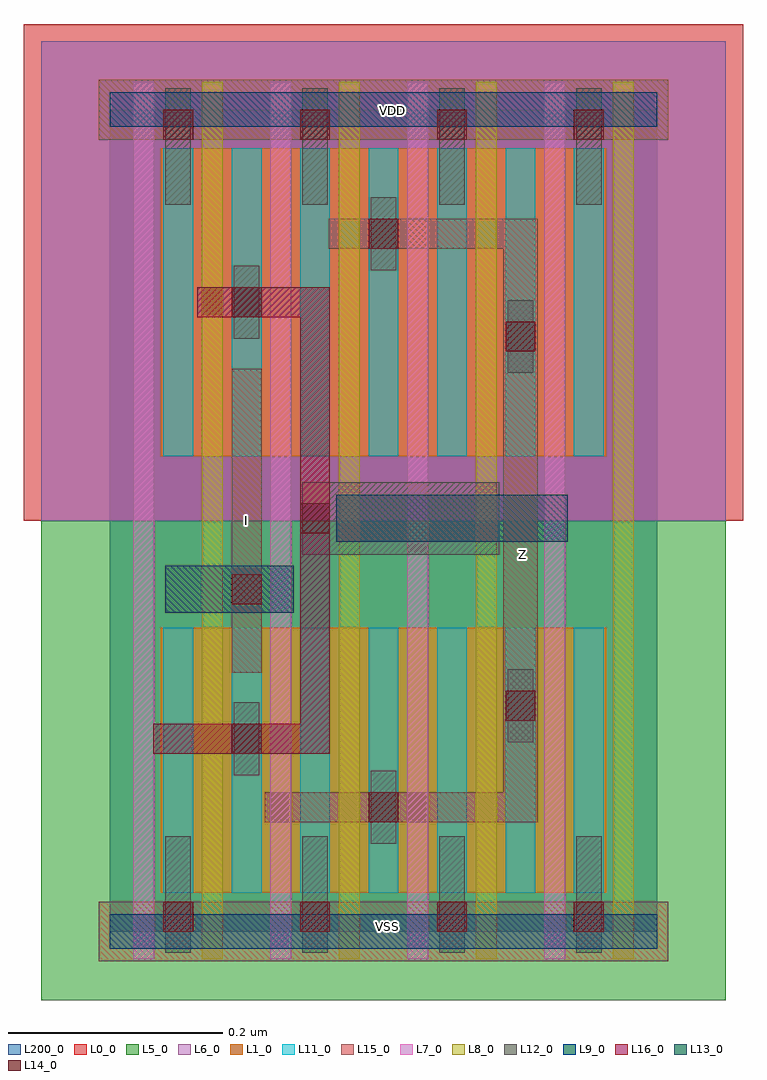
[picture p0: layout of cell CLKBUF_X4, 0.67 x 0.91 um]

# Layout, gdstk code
import gdstk
lib = gdstk.Library(unit=1e-6, precision=1e-09)
def R(c, l, rs):  # rectangles x0, y0, x1, y1
    for r in rs: c.add(gdstk.rectangle(r[:2], r[2:], *l))
def A(c, l, x, y, w, h, nx, ny, dx, dy):  # array of equal rectangles
    R(c, l, [(x+i*dx, y+j*dy, x+i*dx+w, y+j*dy+h) for i in range(nx) for j in range(ny)])
def P(c, l, *ps):  # polygons
    for p in ps: c.add(gdstk.Polygon(p, *l))
L0_0 = (0, 0)
L1_0 = (1, 0)
L5_0 = (5, 0)
L6_0 = (6, 0)
L7_0 = (7, 0)
L8_0 = (8, 0)
L9_0 = (9, 0)
L11_0 = (11, 0)
L12_0 = (12, 0)
L13_0 = (13, 0)
L14_0 = (14, 0)
L15_0 = (15, 0)
L16_0 = (16, 0)
L200_0 = (200, 0)

clkbuf_x4 = lib.new_cell('CLKBUF_X4')
R(clkbuf_x4, L0_0, [(-0.08,0.384,0.592,0.848)])
R(clkbuf_x4, L1_0, [(0.048,0.036,0.464,0.284), (0.048,0.444,0.464,0.732)])
R(clkbuf_x4, L5_0, [(-0.064,-0.064,0.576,0.384)])
R(clkbuf_x4, L6_0, [(-0.064,0.384,0.576,0.832)])
A(clkbuf_x4, L7_0, 0.022, -0.026, 0.02, 0.82, 4, 1, 0.128, 0)
A(clkbuf_x4, L8_0, 0.086, -0.026, 0.02, 0.82, 4, 1, 0.128, 0)
R(clkbuf_x4, L9_0, [(0,-0.016,0.512,0.016), (0,0.752,0.512,0.784)])
A(clkbuf_x4, L11_0, 0.05, 0.036, 0.028, 0.248, 7, 1, 0.064, 0)
A(clkbuf_x4, L11_0, 0.05, 0.444, 0.028, 0.288, 7, 1, 0.064, 0)
A(clkbuf_x4, L12_0, 0.052, -0.02, 0.024, 0.109, 4, 2, 0.128, 0.699)
R(clkbuf_x4, L12_0, [(0.244,0.082,0.268,0.15), (0.116,0.146,0.14,0.214), (0.372,0.177,0.396,0.245), (0.18,0.352,0.364,0.42), (0.372,0.522,0.396,0.59), (0.116,0.554,0.14,0.622), (0.244,0.618,0.268,0.686)])
R(clkbuf_x4, L13_0, [(0.052,0.298,0.172,0.342), (0.212,0.364,0.428,0.408)])
A(clkbuf_x4, L14_0, 0.05, 0, 0.028, 0.028, 4, 2, 0.128, 0.74)
R(clkbuf_x4, L14_0, [(0.242,0.102,0.27,0.13), (0.114,0.166,0.142,0.194), (0.37,0.197,0.398,0.225), (0.114,0.306,0.142,0.334), (0.178,0.372,0.206,0.4), (0.37,0.542,0.398,0.57), (0.114,0.574,0.142,0.602), (0.242,0.638,0.27,0.666)])
R(clkbuf_x4, L15_0, [(-0.01,-0.028,0.522,0.028), (0.114,0.242,0.142,0.526), (-0.01,0.74,0.522,0.796)])
P(clkbuf_x4, L15_0, [(0.205,0.638),(0.368,0.638),(0.368,0.13),(0.145,0.13),(0.145,0.102),(0.4,0.102),(0.4,0.666),(0.205,0.666)])
P(clkbuf_x4, L16_0, [(0.082,0.574),(0.178,0.574),(0.178,0.194),(0.041,0.194),(0.041,0.166),(0.206,0.166),(0.206,0.602),(0.082,0.602)])
R(clkbuf_x4, L200_0, [(0,0,0.512,0.768)])
clkbuf_x4.add(gdstk.Label('VSS', (0.26,0.005), layer=15, texttype=20))
clkbuf_x4.add(gdstk.Label('I', (0.128,0.384), layer=15, texttype=20))
clkbuf_x4.add(gdstk.Label('Z', (0.386,0.352), layer=15, texttype=20))
clkbuf_x4.add(gdstk.Label('VDD', (0.264,0.767), layer=15, texttype=20))

lib.write_gds('CLKBUF_X4.gds')
